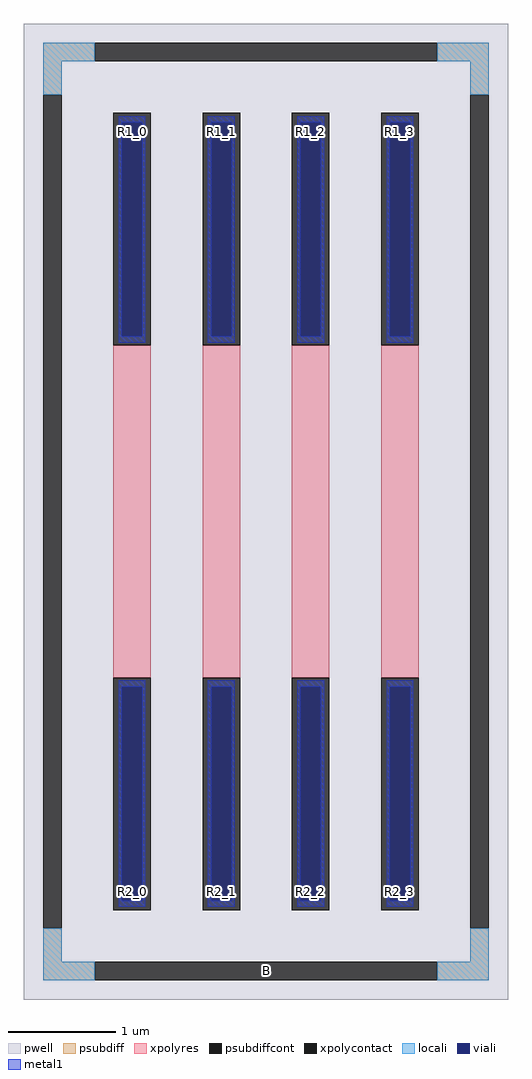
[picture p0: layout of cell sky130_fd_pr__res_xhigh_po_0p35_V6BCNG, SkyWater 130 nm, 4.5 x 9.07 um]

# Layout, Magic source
magic
tech sky130A
magscale 1 2
<< pwell >>
rect -450 -907 450 907
<< psubdiff >>
rect -414 837 -318 871
rect 318 837 414 871
rect -414 775 -380 837
rect 380 775 414 837
rect -414 -837 -380 -775
rect 380 -837 414 -775
rect -414 -871 -318 -837
rect 318 -871 414 -837
<< psubdiffcont >>
rect -318 837 318 871
rect -414 -775 -380 775
rect 380 -775 414 775
rect -318 -871 318 -837
<< xpolycontact >>
rect -284 309 -214 741
rect -284 -741 -214 -309
rect -118 309 -48 741
rect -118 -741 -48 -309
rect 48 309 118 741
rect 48 -741 118 -309
rect 214 309 284 741
rect 214 -741 284 -309
<< xpolyres >>
rect -284 -309 -214 309
rect -118 -309 -48 309
rect 48 -309 118 309
rect 214 -309 284 309
<< locali >>
rect -414 837 -318 871
rect 318 837 414 871
rect -414 775 -380 837
rect 380 775 414 837
rect -414 -837 -380 -775
rect 380 -837 414 -775
rect -414 -871 -318 -837
rect 318 -871 414 -837
<< viali >>
rect -268 326 -230 723
rect -102 326 -64 723
rect 64 326 102 723
rect 230 326 268 723
rect -268 -723 -230 -326
rect -102 -723 -64 -326
rect 64 -723 102 -326
rect 230 -723 268 -326
<< metal1 >>
rect -274 723 -224 735
rect -274 326 -268 723
rect -230 326 -224 723
rect -274 314 -224 326
rect -108 723 -58 735
rect -108 326 -102 723
rect -64 326 -58 723
rect -108 314 -58 326
rect 58 723 108 735
rect 58 326 64 723
rect 102 326 108 723
rect 58 314 108 326
rect 224 723 274 735
rect 224 326 230 723
rect 268 326 274 723
rect 224 314 274 326
rect -274 -326 -224 -314
rect -274 -723 -268 -326
rect -230 -723 -224 -326
rect -274 -735 -224 -723
rect -108 -326 -58 -314
rect -108 -723 -102 -326
rect -64 -723 -58 -326
rect -108 -735 -58 -723
rect 58 -326 108 -314
rect 58 -723 64 -326
rect 102 -723 108 -326
rect 58 -735 108 -723
rect 224 -326 274 -314
rect 224 -723 230 -326
rect 268 -723 274 -326
rect 224 -735 274 -723
<< labels >>
rlabel psubdiffcont 0 -854 0 -854 0 B
port 1 nsew
rlabel xpolycontact -249 706 -249 706 0 R1_0
port 2 nsew
rlabel xpolycontact -249 -706 -249 -706 0 R2_0
port 3 nsew
rlabel xpolycontact -83 706 -83 706 0 R1_1
port 4 nsew
rlabel xpolycontact -83 -706 -83 -706 0 R2_1
port 5 nsew
rlabel xpolycontact 83 706 83 706 0 R1_2
port 6 nsew
rlabel xpolycontact 83 -706 83 -706 0 R2_2
port 7 nsew
rlabel xpolycontact 249 706 249 706 0 R1_3
port 8 nsew
rlabel xpolycontact 249 -706 249 -706 0 R2_3
port 9 nsew
<< properties >>
string FIXED_BBOX -397 -854 397 854
string gencell sky130_fd_pr__res_xhigh_po_0p35
string library sky130
string parameters w 0.35 l 3.25 m 1 nx 4 wmin 0.350 lmin 0.50 class resistor rho 2000 val 19.646k dummy 0 dw 0.0 term 188.2 sterm 0.0 caplen 0 wmax 0.350 guard 1 glc 1 grc 1 gtc 1 gbc 1 compatible {sky130_fd_pr__res_xhigh_po_0p35  sky130_fd_pr__res_xhigh_po_0p69 sky130_fd_pr__res_xhigh_po_1p41  sky130_fd_pr__res_xhigh_po_2p85 sky130_fd_pr__res_xhigh_po_5p73} snake 0 full_metal 1 n_guard 0 hv_guard 0 vias 1 viagb 0 viagt 0 viagl 0 viagr 0 doports 1
<< end >>
